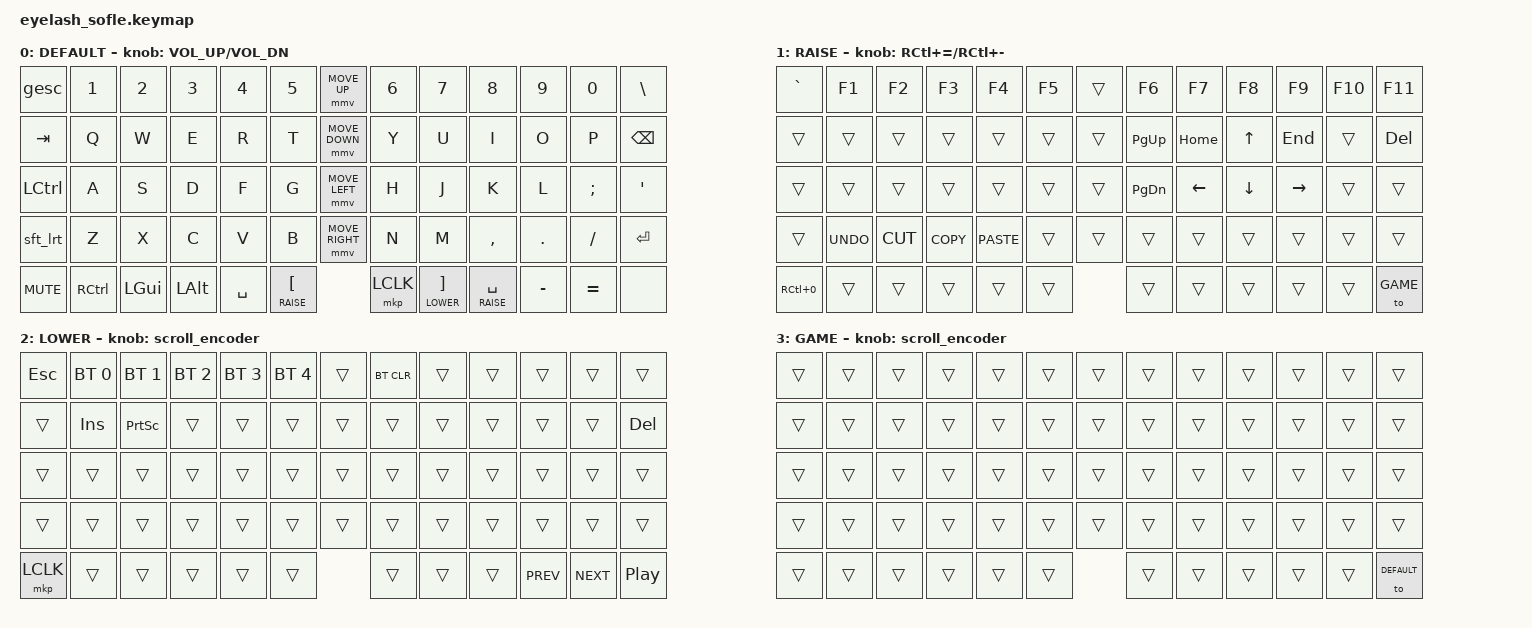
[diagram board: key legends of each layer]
#define ZMK_POINTING_DEFAULT_MOVE_VAL 1200  // 600
#define ZMK_POINTING_DEFAULT_SCRL_VAL 25   // 10


#include <input/processors.dtsi>
#include <zephyr/dt-bindings/input/input-event-codes.h>
#include <behaviors.dtsi>
#include <behaviors/runtime-sensor-rotate.dtsi>
#include <dt-bindings/zmk/bt.h>
#include <dt-bindings/zmk/keys.h>
#include <dt-bindings/zmk/outputs.h>
#include <dt-bindings/zmk/pointing.h>
#include <dt-bindings/zmk/rgb.h>

#define DEFAULT 0
#define RAISE   1
#define LOWER   2
#define GAME    3

&mmv_input_listener { input-processors = <&zip_xy_scaler 2 1>; };

&msc_input_listener { input-processors = <&zip_scroll_scaler 2 1>; };

&msc {
    acceleration-exponent = <1>;      // 0
    time-to-max-speed-ms = <100>;       // 300
    delay-ms = <0>;                   // 0
};

&mmv {
    time-to-max-speed-ms = <500>;
    acceleration-exponent = <1>;
    trigger-period-ms = <16>;
};

&soft_off { hold-time-ms = <2000>; };

/ {
    scroll_encoder: scroll_encoder {
        compatible = "zmk,behavior-sensor-rotate";
        #sensor-binding-cells = <0>;
        bindings = <&msc SCRL_DOWN>, <&msc SCRL_UP>;

        tap-ms = <100>;
    };

    behaviors {
        rsr_vol: rsr_vol {
            compatible = "zmk,behavior-runtime-sensor-rotate";
            #sensor-binding-cells = <0>;
            tap-ms = <5>;
            cw-binding = <&kp C_VOL_UP>;
            ccw-binding = <&kp C_VOL_DN>;
        };

        rsr_trans: rsr_trans {
            compatible = "zmk,behavior-runtime-sensor-rotate";
            #sensor-binding-cells = <0>;
            tap-ms = <0>;
        };
    };

    combos {
        compatible = "zmk,combos";

        softoff {
            bindings = <&soft_off>;
            key-positions = <14 28 40>;
        };
    };

    macros {
        SHIFT_MCLK: SHIFT_MCLK {
            compatible = "zmk,behavior-macro";
            #binding-cells = <0>;
            bindings =
                <&macro_press>,
                <&kp LEFT_SHIFT>,
                <&macro_press>,
                <&mkp MB3>,
                <&macro_pause_for_release>,
                <&macro_release>,
                <&kp LEFT_SHIFT &mkp MB3>;

            label = "SHIFT_MCLK";
        };
    };

    keymap {
        compatible = "zmk,keymap";

        0 {
            bindings = <
&gesc       &kp N1     &kp N2    &kp N3    &kp N4     &kp N5                 &mmv MOVE_UP     &kp N6           &kp N7     &kp N8     &kp N9   &kp N0    &kp BSLH
&kp TAB     &kp Q      &kp W     &kp E     &kp R      &kp T                  &mmv MOVE_DOWN   &kp Y            &kp U      &kp I      &kp O    &kp P     &kp BACKSPACE
&kp LCTRL   &kp A      &kp S     &kp D     &kp F      &kp G                  &mmv MOVE_LEFT   &kp H            &kp J      &kp K      &kp L    &kp SEMI  &kp SQT
&sft_lrt    &kp Z      &kp X     &kp C     &kp V      &kp B                  &mmv MOVE_RIGHT  &kp N            &kp M      &kp COMMA  &kp DOT  &kp FSLH  &kp RET
&kp C_MUTE  &kp RCTRL  &kp LGUI  &kp LALT  &kp SPACE  &lt RAISE LBKT         &mkp LCLK        &lt LOWER RBKT   &lt RAISE SPACE  &kp MINUS  &kp EQUAL  &none 
            >;

            display-name = "DEFAULT";
            sensor-bindings = <&inc_dec_kp C_VOLUME_UP C_VOL_DN>;
        };

        RAISE {
            bindings = <
&kp GRAVE   &kp F1       &kp F2       &kp F3       &kp F4       &kp F5          &trans  &kp F6     &kp F7    &kp F8   &kp F9     &kp F10  &kp F11
&trans      &trans       &trans       &trans       &trans       &trans          &trans  &kp PG_UP  &kp HOME  &kp UP   &kp END    &trans   &kp DELETE
&trans      &trans       &trans       &trans       &trans       &trans          &trans  &kp PG_DN  &kp LEFT  &kp DOWN &kp RIGHT  &trans   &trans
&trans      &kp K_UNDO   &kp K_CUT    &kp K_COPY   &kp K_PASTE  &trans          &trans  &trans     &trans    &trans   &trans     &trans   &trans
&kp RC(N0)  &trans       &trans       &trans       &trans       &trans          &trans  &trans     &trans    &trans   &trans     &to GAME             

            >;

            display-name = "RAISE";
            sensor-bindings = <&inc_dec_kp RC(EQUAL) RC(MINUS)>;
        };

        LOWER {
            bindings = <
&kp ESC     &bt BT_SEL 0  &bt BT_SEL 1  &bt BT_SEL 2  &bt BT_SEL 3  &bt BT_SEL 4       &trans   &bt BT_CLR  &trans  &trans  &trans    &trans    &trans
&trans      &kp INS       &kp PSCRN     &trans        &trans        &trans             &trans   &trans      &trans  &trans  &trans    &trans    &kp DELETE
&trans      &trans        &trans        &trans        &trans        &trans             &trans   &trans      &trans  &trans  &trans    &trans    &trans
&trans      &trans        &trans        &trans        &trans        &trans             &trans   &trans      &trans  &trans  &trans    &trans    &trans
&mkp LCLK   &trans        &trans        &trans        &trans        &trans             &trans   &trans      &trans  &kp C_PREV  &kp C_NEXT    &kp C_PP
            >;

            display-name = "LOWER";
            sensor-bindings = <&scroll_encoder>;            
        };

        GAME {
            bindings = <
&trans  &trans  &trans  &trans  &trans  &trans    &trans  &trans  &trans  &trans  &trans  &trans  &trans
&trans  &trans  &trans  &trans  &trans  &trans    &trans  &trans  &trans  &trans  &trans  &trans  &trans
&trans  &trans  &trans  &trans  &trans  &trans    &trans  &trans  &trans  &trans  &trans  &trans  &trans
&trans  &trans  &trans  &trans  &trans  &trans    &trans  &trans  &trans  &trans  &trans  &trans  &trans
&trans  &trans  &trans  &trans  &trans  &trans    &trans  &trans  &trans  &trans  &trans  &to DEFAULT
            >;

            display-name = "GAME";
            sensor-bindings = <&scroll_encoder>;            
        };
    };
    behaviors {
        gesc: grave_escape {
            compatible = "zmk,behavior-mod-morph";
            label = "GRAVE_ESCAPE";
            #binding-cells = <0>;
            bindings = <&kp ESC>, <&kp TILDE>;
            mods = <(MOD_LSFT)>;
        };
        bspc_del: backspace_delete {
            compatible = "zmk,behavior-mod-morph";
            label = "BACKSPACE_DELETE";
            #binding-cells = <0>;
            bindings = <&kp BACKSPACE>, <&kp DELETE>;
            mods = <(MOD_LSFT|MOD_LCTL)>;
            keep-mods = <(MOD_LCTL)>;
        };
        sft_lrt: shift_lr_toggle {
            compatible = "zmk,behavior-mod-morph";
            label = "SHIFT_TOGGLE";
            #binding-cells = <0>;
            bindings = <&kp LSHFT>, <&kp RSHFT>;
            mods = <(MOD_LCTL)>;
            keep-mods = <(MOD_LCTL)>;
        };
    };
};
